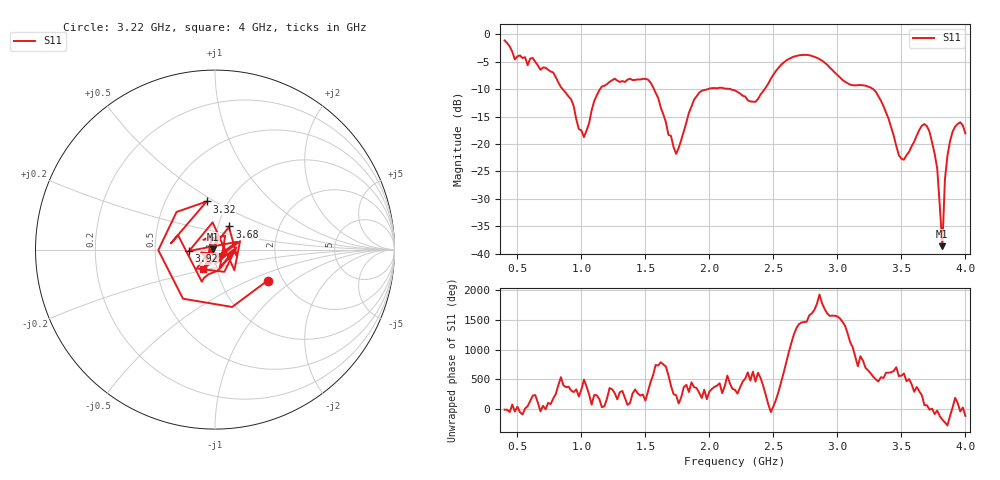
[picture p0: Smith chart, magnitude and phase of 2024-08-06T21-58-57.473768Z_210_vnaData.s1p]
!Created with skrf (http://scikit-rf.org).
# Hz S RI R 50.0
!freq ReS11 ImS11
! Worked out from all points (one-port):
!   181 points, 400 MHz to 4 GHz, reference 50 ohm
!   lowest |S11| = -38.6 dB at 3.82 GHz (marker M1), VSWR 1.02, Z = 48.9 + j0.126 ohm
!   |S11| at or under -10 dB: 853.8 MHz to 1.146 GHz (292.1 MHz wide, 29.2 % of centre); 1.567 GHz to 1.989 GHz (421.6 MHz wide, 23.7 % of centre); 3.279 GHz to end of sweep (the widest 3 of 4)
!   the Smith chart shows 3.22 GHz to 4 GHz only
!   S11 on the Smith chart (normalised r, x): 3.22 GHz: 1.67, -0.65; 3.32 GHz: 0.79, +0.46; 3.68 GHz: 1.13, +0.30; 3.92 GHz: 0.75, -0.01; 4 GHz: 0.86, -0.19
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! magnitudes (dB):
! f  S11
! 400 MHz  -1.1
! 480 MHz  -4.6
! 620 MHz  -4.3
! 860 MHz  -10.2
! 1.02 GHz  -18.8
! 1.14 GHz  -10.2
! 1.3 GHz  -8.7
! 1.54 GHz  -8.8
! 1.74 GHz  -21.8
! 1.76 GHz  -20.7
! 1.92 GHz  -10.7
! 2.2 GHz  -10.2
! 2.36 GHz  -12.3
! 2.66 GHz  -4.1
! 2.86 GHz  -4.5
! 3.1 GHz  -9.2
! 3.22 GHz  -9.4
! 3.32 GHz  -11.3
! 3.48 GHz  -22.0
! 3.56 GHz  -21.4
! 3.68 GHz  -16.4
! 3.72 GHz  -17.8
! 3.78 GHz  -24.5
! 3.82 GHz  -38.6
! 3.84 GHz  -26.5
! 3.86 GHz  -22.1
! 3.92 GHz  -16.8
! 4 GHz  -18.1
